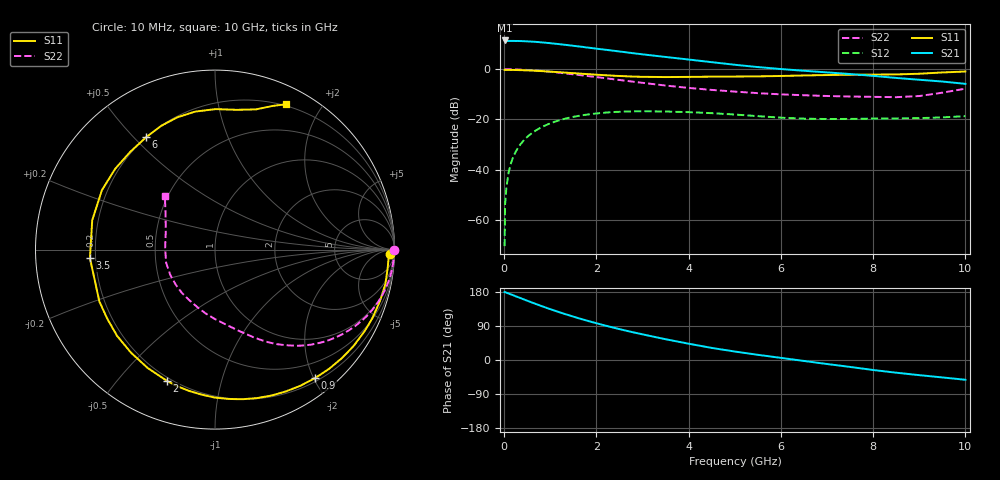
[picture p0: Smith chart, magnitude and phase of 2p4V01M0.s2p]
! (c) 2009  Infineon Technologies AG, Munich
! Infineon Technologies  Discrete & RF Semiconductors
! BFP420
! VCE =  4.0 V,  IC =  1.0 mA
! Common Emitter S-Parameters:  Nov 2009
# GHz  S  MA  R  50
!  f  S11  S21  S12  S22
! GHz  MAG  ANG  MAG  ANG  MAG  ANG  MAG  ANG
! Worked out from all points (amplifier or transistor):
!   46 points, 10 MHz to 10 GHz, reference 50 ohm
!   highest |S21| = 11.5 dB at 10 MHz (marker M1)
!   |S21| within 3 dB of that: start of sweep to 1.891 GHz
!   unconditionally stable (mu >= 1): start of sweep to 10.00085 MHz; 4.388 GHz to end of sweep
!   at 300 MHz: K = 0.03, MSG = 21.3 dB, |S12| = -31.3 dB
!   at 1.7 GHz: K = 0.26, MSG = 13.6 dB, |S12| = -18.3 dB
!   at 10 GHz: K = 1.35, MAG = 2.9 dB, |S12| = -18.7 dB
!   lowest NFmin = 0.53 dB at 900 MHz
!   S11 on the Smith chart (normalised r, x): 10 MHz: 38, -36; 900 MHz: 0.25, -2.02; 2 GHz: 0.18, -0.68; 3.5 GHz: 0.18, -0.03; 6 GHz: 0.20, +0.54; 10 GHz: 0.18, +1.59
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0.01  0.9726 -1.5  3.741 179.3  0.0003 22.1  0.9978 0.0
0.02  0.9676 -1.0  3.615 179.3  0.002 81.7  0.9964 -0.5
0.05  0.9681 -2.8  3.64 177.6  0.0045 83.8  0.9971 -1.4
0.1  0.9677 -5.8  3.664 175.4  0.0091 84.6  0.9964 -3.0
0.15  0.967 -8.7  3.667 173.0  0.0137 84.0  0.9949 -4.6
0.25  0.9645 -14.5  3.647 168.1  0.0227 80.8  0.9899 -7.6
0.45  0.9524 -26.2  3.611 158.9  0.0406 74.2  0.973 -13.5
0.7  0.9299 -40.7  3.501 147.3  0.0615 65.6  0.9398 -20.7
0.9  0.9073 -52.1  3.37 138.4  0.0767 58.9  0.9069 -26.1
1.2  0.8718 -68.9  3.153 125.9  0.0966 49.5  0.8508 -33.7
1.4  0.8474 -79.7  3.004 118.2  0.1078 43.5  0.8122 -38.3
1.7  0.8115 -95.2  2.788 107.2  0.1216 35.2  0.7537 -44.6
2  0.779 -110.0  2.569 97.1  0.1317 27.5  0.6981 -50.1
2.6  0.7272 -138.6  2.199 78.6  0.1436 13.5  0.5946 -60.2
3  0.7062 -155.8  1.981 67.7  0.1457 5.6  0.5363 -66.0
3.5  0.6984 -176.1  1.755 54.8  0.144 -3.0  0.4735 -73.4
4.5  0.7118 152.3  1.383 31.9  0.1335 -15.8  0.3875 -89.9
5.5  0.7208 130.9  1.105 13.7  0.1165 -23.0  0.3341 -107.5
6  0.7341 121.6  1.009 5.6  0.1086 -23.8  0.3159 -117.1
7  0.7663 105.9  0.865 -10.6  0.102 -22.1  0.2933 -138.3
8.5  0.788 81.2  0.671 -33.5  0.1048 -21.1  0.2779 178.3
10  0.9011 64.0  0.512 -52.2  0.1164 -19.3  0.4104 132.9
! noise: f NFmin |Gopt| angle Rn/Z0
0.9  0.53  0.67  34  0.35
1.8  1.15  0.44  77  0.27
2.4  1.28  0.44  100  0.22
3  1.61  0.45  131  0.15
4  1.9  0.47  -177  0.09
5  2.32  0.44  -133  0.45
6  3.43  0.6  -118  0.25
